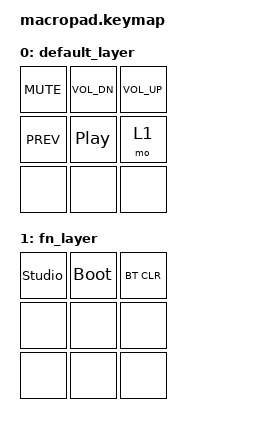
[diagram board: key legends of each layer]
#include <behaviors.dtsi>
#include <dt-bindings/zmk/keys.h>
#include <dt-bindings/zmk/bt.h>

/ {
    keymap {
        compatible = "zmk,keymap";

        default_layer {
            bindings = <
                &kp C_MUTE  &kp C_VOL_DN  &kp C_VOL_UP
                &kp C_PREV  &kp C_PP      &mo 1
                &none       &none         &none
            >;
        };

        fn_layer {
            bindings = <
                &studio_unlock  &bootloader  &bt BT_CLR
                &none           &none        &none
                &none           &none        &none
            >;
        };
    };
};
